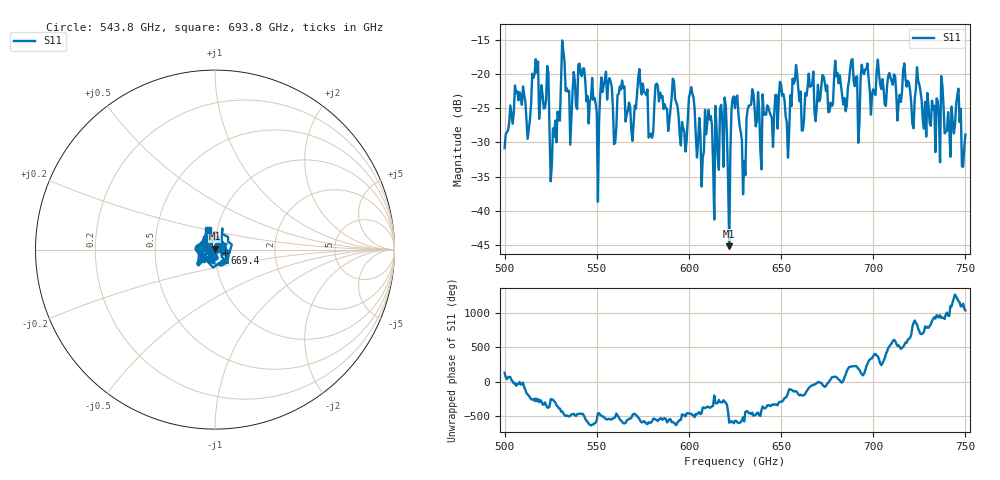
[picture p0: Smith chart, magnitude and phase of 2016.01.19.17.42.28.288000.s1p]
!Created with skrf (http://scikit-rf.org).
# GHz S RI R 50.0
!freq ReS11 ImS11
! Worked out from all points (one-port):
!   401 points, 500 GHz to 750 GHz, reference 50 ohm
!   lowest |S11| = -45.1 dB at 621.9 GHz (marker M1), VSWR 1.01, Z = 49.7 + j0.477 ohm
!   |S11| at or under -10 dB: start of sweep to end of sweep
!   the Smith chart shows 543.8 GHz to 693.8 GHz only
!   S11 on the Smith chart (normalised r, x): 543.8 GHz: 0.84, +0.01; 669.4 GHz: 1.12, -0.04; 693.8 GHz: 0.90, +0.20
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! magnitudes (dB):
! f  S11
! 500 GHz  -30.8
! 506.9 GHz  -22.5
! 513.1 GHz  -28.0
! 516.9 GHz  -17.9
! 525.6 GHz  -33.3
! 531.2 GHz  -15.1
! 543.8 GHz  -20.9
! 550 GHz  -25.5
! 553.8 GHz  -21.6
! 560 GHz  -30.0
! 562.5 GHz  -21.8
! 573.8 GHz  -21.7
! 579.4 GHz  -28.7
! 583.1 GHz  -21.7
! 593.8 GHz  -24.6
! 615 GHz  -27.9
! 618.8 GHz  -33.6
! 621.9 GHz  -45.1
! 625 GHz  -25.0
! 629.4 GHz  -37.6
! 633.8 GHz  -24.5
! 653.1 GHz  -27.1
! 656.2 GHz  -20.7
! 669.4 GHz  -24.7
! 687.5 GHz  -19.3
! 693.8 GHz  -18.7
! 718.8 GHz  -21.0
! 750 GHz  -28.9
